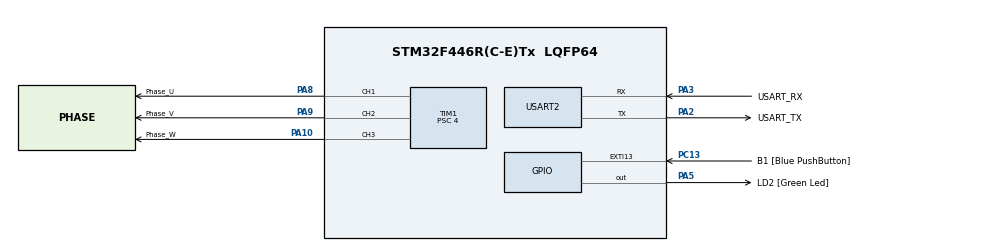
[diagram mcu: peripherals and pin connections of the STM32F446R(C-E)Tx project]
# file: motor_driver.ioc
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FREERTOS.Tasks01=defaultTask,0,128,StartDefaultTask,Default,NULL,Dynamic,NULL,NULL
Mcu.Family=STM32F4
Mcu.Name=STM32F446R(C-E)Tx
Mcu.Package=LQFP64
NVIC.EXTI15_10_IRQn=true\:5\:0\:false\:false\:true\:true\:true\:true\:true
NVIC.PriorityGroup=NVIC_PRIORITYGROUP_4
PA10.GPIO_Label=Phase_W
PA10.Signal=S_TIM1_CH3
PA13.GPIO_Label=TMS
PA13.Mode=Serial_Wire
PA13.Signal=SYS_JTMS-SWDIO
PA14.GPIO_Label=TCK
PA14.Mode=Serial_Wire
PA14.Signal=SYS_JTCK-SWCLK
PA2.GPIO_Label=USART_TX
PA2.Mode=Asynchronous
PA2.Signal=USART2_TX
PA3.GPIO_Label=USART_RX
PA3.Mode=Asynchronous
PA3.Signal=USART2_RX
PA5.GPIO_Label=LD2 [Green Led]
PA5.Signal=GPIO_Output
PA8.GPIO_Label=Phase_U
PA8.Signal=S_TIM1_CH1
PA9.GPIO_Label=Phase_V
PA9.Signal=S_TIM1_CH2
PB3.GPIO_Label=SWO
PB3.Signal=SYS_JTDO-SWO
PC13.GPIO_Label=B1 [Blue PushButton]
PC13.GPIO_ModeDefaultEXTI=GPIO_MODE_IT_FALLING
PC13.Signal=GPXTI13
PC14-OSC32_IN.Mode=LSE-External-Oscillator
PC14-OSC32_IN.Signal=RCC_OSC32_IN
PC15-OSC32_OUT.Mode=LSE-External-Oscillator
PC15-OSC32_OUT.Signal=RCC_OSC32_OUT
PH0-OSC_IN.Mode=HSE-External-Oscillator
PH0-OSC_IN.Signal=RCC_OSC_IN
PH1-OSC_OUT.Mode=HSE-External-Oscillator
PH1-OSC_OUT.Signal=RCC_OSC_OUT
ProjectManager.HeapSize=0x200
ProjectManager.StackSize=0x400
ProjectManager.TargetToolchain=STM32CubeIDE
RCC.48MHZClocksFreq_Value=84000000
RCC.AHBFreq_Value=84000000
RCC.APB1CLKDivider=RCC_HCLK_DIV2
RCC.APB1Freq_Value=42000000
RCC.APB1TimFreq_Value=84000000
RCC.APB2Freq_Value=84000000
RCC.APB2TimFreq_Value=84000000
RCC.CortexFreq_Value=84000000
RCC.FLatency-AdvancedSettings=FLASH_LATENCY_2
RCC.HCLKFreq_Value=84000000
RCC.HSE_VALUE=8000000
RCC.HSI_VALUE=16000000
RCC.PLLN=336
RCC.PLLP=RCC_PLLP_DIV4
RCC.SYSCLKFreq_VALUE=84000000
RCC.SYSCLKSource=RCC_SYSCLKSOURCE_PLLCLK
RCC.USBFreq_Value=168000000
RCC.VCOOutputFreq_Value=336000000
SH.S_TIM1_CH1.0=TIM1_CH1,PWM Generation1 CH1
SH.S_TIM1_CH2.0=TIM1_CH2,PWM Generation2 CH2
SH.S_TIM1_CH3.0=TIM1_CH3,PWM Generation3 CH3
TIM1.AutoReloadPreload=TIM_AUTORELOAD_PRELOAD_ENABLE
TIM1.Channel-PWM\ Generation1\ CH1=TIM_CHANNEL_1
TIM1.Channel-PWM\ Generation2\ CH2=TIM_CHANNEL_2
TIM1.Channel-PWM\ Generation3\ CH3=TIM_CHANNEL_3
TIM1.Prescaler=4
USART2.VirtualMode=VM_ASYNC
VP_FREERTOS_VS_CMSIS_V1.Mode=CMSIS_V1
board=NUCLEO-F446RE

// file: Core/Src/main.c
/* USER CODE BEGIN Header */
/**
 ******************************************************************************
 * @file           : main.c
 * @brief          : Main program body
 ******************************************************************************
 * @attention
 *
 * Copyright (c) 2025 STMicroelectronics.
 * All rights reserved.
 *
 * This software is licensed under terms that can be found in the LICENSE file
 * in the root directory of this software component.
 * If no LICENSE file comes with this software, it is provided AS-IS.
 *
 ******************************************************************************
 */
/* USER CODE END Header */
#include "main.h"
#include "cmsis_os.h"

/* USER CODE BEGIN Includes */
#include "stm32f4xx_it.h"
/* USER CODE END Includes */

/* USER CODE BEGIN PD */
#define PHASE_U_PIN GPIO_PIN_8
#define PHASE_U_GPIO_PORT GPIOA
#define PHASE_U_TIM_CHANNEL LL_TIM_CHANNEL_CH1

#define PHASE_V_PIN GPIO_PIN_9
#define PHASE_V_GPIO_PORT GPIOA
#define PHASE_V_TIM_CHANNEL LL_TIM_CHANNEL_CH2

#define PHASE_W_PIN GPIO_PIN_10
#define PHASE_W_GPIO_PORT GPIOA
#define PHASE_W_TIM_CHANNEL LL_TIM_CHANNEL_CH3

#define DUTY_STEP 10
#define AUTORELOAD_VALUE 2099
/* USER CODE END PD */

//osThreadId defaultTaskHandle;
/* USER CODE BEGIN PV */
volatile uint8_t start_phase = 0;
static uint8_t commutationStep = 1;
/* USER CODE END PV */

void SystemClock_Config(void);
static void MX_GPIO_Init(void);
static void MX_USART2_UART_Init(void);
static void MX_TIM1_Init(void);
void StartDefaultTask(void const *argument);

/* USER CODE BEGIN 0 */

void SetPhasePWM(uint32_t timerChannel, uint32_t dutyCycle) {
	switch (timerChannel) {
	case LL_TIM_CHANNEL_CH1:
		LL_TIM_OC_SetCompareCH1(TIM1, dutyCycle);
		break;
	case LL_TIM_CHANNEL_CH2:
		LL_TIM_OC_SetCompareCH2(TIM1, dutyCycle);
		break;
	case LL_TIM_CHANNEL_CH3:
		LL_TIM_OC_SetCompareCH3(TIM1, dutyCycle);
		break;
	}
}
/*
 void SetDutyPhaseAllCycles(uint32_t dutyCycle) {
 LL_TIM_OC_SetCompare(TIM1, PHASE_U_TIM_CHANNEL, dutyCycle);
 LL_TIM_OC_SetCompare(TIM1, PHASE_V_TIM_CHANNEL, dutyCycle);
 LL_TIM_OC_SetCompare(TIM1, PHASE_W_TIM_CHANNEL, dutyCycle);
 }
 */

void runMotor(void) {
    static uint32_t duty = AUTORELOAD_VALUE * 0.2;  // start bei 20%
    static int delta = DUTY_STEP;

    switch (commutationStep) {
    case 1:
        // U aktiviert, V und W aus
        SetPhasePWM(PHASE_U_TIM_CHANNEL, duty);
        SetPhasePWM(PHASE_V_TIM_CHANNEL, 0);
        SetPhasePWM(PHASE_W_TIM_CHANNEL, 0);
        break;
    case 2:
        // V aktiviert, U und W aus
        SetPhasePWM(PHASE_U_TIM_CHANNEL, 0);
        SetPhasePWM(PHASE_V_TIM_CHANNEL, duty);
        SetPhasePWM(PHASE_W_TIM_CHANNEL, 0);
        break;
    case 3:
        // W aktiviert, U und V aus
        SetPhasePWM(PHASE_U_TIM_CHANNEL, 0);
        SetPhasePWM(PHASE_V_TIM_CHANNEL, 0);
        SetPhasePWM(PHASE_W_TIM_CHANNEL, duty);
        break;
    case 4:
        // U aktiviert, W aus, V wieder aus (falls Drehrichtung rückwärts)
        SetPhasePWM(PHASE_U_TIM_CHANNEL, duty);
        SetPhasePWM(PHASE_V_TIM_CHANNEL, 0);
        SetPhasePWM(PHASE_W_TIM_CHANNEL, 0);
        break;
    case 5:
        // V aktiviert, W aus, U wieder aus (gekreuzt, um Bewegungsrichtung zu ändern)
        SetPhasePWM(PHASE_U_TIM_CHANNEL, 0);
        SetPhasePWM(PHASE_V_TIM_CHANNEL, duty);
        SetPhasePWM(PHASE_W_TIM_CHANNEL, 0);
        break;
    case 6:
        // W aktiv, U und V aus (auch für Rückwärtsdrehung)
        SetPhasePWM(PHASE_U_TIM_CHANNEL, 0);
        SetPhasePWM(PHASE_V_TIM_CHANNEL, 0);
        SetPhasePWM(PHASE_W_TIM_CHANNEL, duty);
        break;
    default:
        commutationStep = 1;
        break;
    }

    commutationStep++;
    if (commutationStep > 6) {
        commutationStep = 1;
    }

    // Duty Cycle zwischen 20% und 40% langsam ändern
    if (duty >= AUTORELOAD_VALUE * 0.4) {
        delta = -DUTY_STEP;
    } else if (duty <= AUTORELOAD_VALUE * 0.2) {
        delta = DUTY_STEP;
    }
    duty += delta;

    vTaskDelay(pdMS_TO_TICKS(150)); // langsam, z.B. 150ms Pause zwischen Schritten
}

void DebugTask(void *argument) {
	for (;;) {
		SetPhasePWM(PHASE_U_TIM_CHANNEL, AUTORELOAD_VALUE / 2); // Phase U auf High
		SetPhasePWM(PHASE_V_TIM_CHANNEL, 0);                 // Phase V aus
		SetPhasePWM(PHASE_W_TIM_CHANNEL, 0);                 // Phase W aus

		vTaskDelay(pdMS_TO_TICKS(1000));
	}
}

void motorTask(void *argument) {
    enum { STATE_IDLE, STATE_RUN } state = STATE_IDLE;
    for (;;) {
        switch (state) {
        case STATE_IDLE:
            if (start_motor == 1) {
                start_motor = 0;
                state = STATE_RUN;
            }
            break;
        case STATE_RUN:
            runMotor();
            break;
        }
        vTaskDelay(pdMS_TO_TICKS(1));
    }
}

/* USER CODE END 0 */

int main(void) {

	/* MCU Configuration--------------------------------------------------------*/

	/* Reset of all peripherals, Initializes the Flash interface and the Systick. */
	LL_APB2_GRP1_EnableClock(LL_APB2_GRP1_PERIPH_SYSCFG);
	LL_APB1_GRP1_EnableClock(LL_APB1_GRP1_PERIPH_PWR);

	/* System interrupt init*/
	NVIC_SetPriorityGrouping(NVIC_PRIORITYGROUP_4);

	/* PendSV_IRQn interrupt configuration */
	NVIC_SetPriority(PendSV_IRQn,
			NVIC_EncodePriority(NVIC_GetPriorityGrouping(), 15, 0));
	/* SysTick_IRQn interrupt configuration */
	NVIC_SetPriority(SysTick_IRQn,
			NVIC_EncodePriority(NVIC_GetPriorityGrouping(), 15, 0));

	/* Configure the system clock */
	SystemClock_Config();

	/* Initialize all configured peripherals */
	MX_GPIO_Init();
	MX_USART2_UART_Init();
	MX_TIM1_Init();
	/* USER CODE BEGIN 2 */
	LL_TIM_CC_EnableChannel(TIM1, LL_TIM_CHANNEL_CH1);
	LL_TIM_CC_EnableChannel(TIM1, LL_TIM_CHANNEL_CH2);
	LL_TIM_CC_EnableChannel(TIM1, LL_TIM_CHANNEL_CH3);
	LL_TIM_EnableAllOutputs(TIM1);
	LL_TIM_EnableCounter(TIM1);

	xTaskCreate(motorTask, "Task1", 256, NULL, 1, NULL);
	//xTaskCreate(DebugTask, "Task1", 256, NULL, 1, NULL);
	/* USER CODE END 2 */

	/* Create the thread(s) */
	/* definition and creation of defaultTask */
	//osThreadDef(defaultTask, StartDefaultTask, osPriorityNormal, 0, 128);
	//defaultTaskHandle = osThreadCreate(osThread(defaultTask), NULL);

	/* Start scheduler */
	// osKernelStart();
	vTaskStartScheduler();

	/* We should never get here as control is now taken by the scheduler */

	/* Infinite loop */
	while (1) {

	}
}

void SystemClock_Config(void) {
	LL_FLASH_SetLatency(LL_FLASH_LATENCY_2);
	while (LL_FLASH_GetLatency() != LL_FLASH_LATENCY_2) {
	}
	LL_PWR_SetRegulVoltageScaling(LL_PWR_REGU_VOLTAGE_SCALE3);
	LL_PWR_DisableOverDriveMode();
	LL_RCC_HSI_SetCalibTrimming(16);
	LL_RCC_HSI_Enable();

	/* Wait till HSI is ready */
	while (LL_RCC_HSI_IsReady() != 1) {

	}
	LL_RCC_PLL_ConfigDomain_SYS(LL_RCC_PLLSOURCE_HSI, LL_RCC_PLLM_DIV_16, 336,
	LL_RCC_PLLP_DIV_4);
	LL_RCC_PLL_Enable();

	/* Wait till PLL is ready */
	while (LL_RCC_PLL_IsReady() != 1) {

	}
	while (LL_PWR_IsActiveFlag_VOS() == 0) {
	}
	LL_RCC_SetAHBPrescaler(LL_RCC_SYSCLK_DIV_1);
	LL_RCC_SetAPB1Prescaler(LL_RCC_APB1_DIV_2);
	LL_RCC_SetAPB2Prescaler(LL_RCC_APB2_DIV_1);
	LL_RCC_SetSysClkSource(LL_RCC_SYS_CLKSOURCE_PLL);

	/* Wait till System clock is ready */
	while (LL_RCC_GetSysClkSource() != LL_RCC_SYS_CLKSOURCE_STATUS_PLL) {

	}
	LL_Init1msTick(84000000);
	LL_SetSystemCoreClock(84000000);
	LL_RCC_SetTIMPrescaler(LL_RCC_TIM_PRESCALER_TWICE);
}

static void MX_TIM1_Init(void) {

	LL_TIM_InitTypeDef TIM_InitStruct = { 0 };
	LL_TIM_OC_InitTypeDef TIM_OC_InitStruct = { 0 };
	LL_TIM_BDTR_InitTypeDef TIM_BDTRInitStruct = { 0 };

	LL_GPIO_InitTypeDef GPIO_InitStruct = { 0 };

	/* Peripheral clock enable */
	LL_APB2_GRP1_EnableClock(LL_APB2_GRP1_PERIPH_TIM1);

	TIM_InitStruct.Prescaler = 2;
	TIM_InitStruct.CounterMode = LL_TIM_COUNTERMODE_UP;
	TIM_InitStruct.Autoreload = AUTORELOAD_VALUE;
	TIM_InitStruct.ClockDivision = LL_TIM_CLOCKDIVISION_DIV1;
	TIM_InitStruct.RepetitionCounter = 0;
	LL_TIM_Init(TIM1, &TIM_InitStruct);
	LL_TIM_EnableARRPreload(TIM1);
	LL_TIM_OC_EnablePreload(TIM1, LL_TIM_CHANNEL_CH1);
	TIM_OC_InitStruct.OCMode = LL_TIM_OCMODE_PWM1;
	TIM_OC_InitStruct.OCState = LL_TIM_OCSTATE_DISABLE;
	TIM_OC_InitStruct.OCNState = LL_TIM_OCSTATE_DISABLE;
	TIM_OC_InitStruct.CompareValue = 0;
	TIM_OC_InitStruct.OCPolarity = LL_TIM_OCPOLARITY_HIGH;
	TIM_OC_InitStruct.OCNPolarity = LL_TIM_OCPOLARITY_HIGH;
	TIM_OC_InitStruct.OCIdleState = LL_TIM_OCIDLESTATE_LOW;
	TIM_OC_InitStruct.OCNIdleState = LL_TIM_OCIDLESTATE_LOW;
	LL_TIM_OC_Init(TIM1, LL_TIM_CHANNEL_CH1, &TIM_OC_InitStruct);
	LL_TIM_OC_DisableFast(TIM1, LL_TIM_CHANNEL_CH1);
	LL_TIM_OC_EnablePreload(TIM1, LL_TIM_CHANNEL_CH2);
	LL_TIM_OC_Init(TIM1, LL_TIM_CHANNEL_CH2, &TIM_OC_InitStruct);
	LL_TIM_OC_DisableFast(TIM1, LL_TIM_CHANNEL_CH2);
	LL_TIM_OC_EnablePreload(TIM1, LL_TIM_CHANNEL_CH3);
	LL_TIM_OC_Init(TIM1, LL_TIM_CHANNEL_CH3, &TIM_OC_InitStruct);
	LL_TIM_OC_DisableFast(TIM1, LL_TIM_CHANNEL_CH3);
	LL_TIM_SetTriggerOutput(TIM1, LL_TIM_TRGO_RESET);
	LL_TIM_DisableMasterSlaveMode(TIM1);
	TIM_BDTRInitStruct.OSSRState = LL_TIM_OSSR_DISABLE;
	TIM_BDTRInitStruct.OSSIState = LL_TIM_OSSI_DISABLE;
	TIM_BDTRInitStruct.LockLevel = LL_TIM_LOCKLEVEL_OFF;
	TIM_BDTRInitStruct.DeadTime = 0;
	TIM_BDTRInitStruct.BreakState = LL_TIM_BREAK_DISABLE;
	TIM_BDTRInitStruct.BreakPolarity = LL_TIM_BREAK_POLARITY_HIGH;
	TIM_BDTRInitStruct.AutomaticOutput = LL_TIM_AUTOMATICOUTPUT_DISABLE;
	LL_TIM_BDTR_Init(TIM1, &TIM_BDTRInitStruct);
	LL_AHB1_GRP1_EnableClock(LL_AHB1_GRP1_PERIPH_GPIOA);
	/**TIM1 GPIO Configuration
	 PA8   ------> TIM1_CH1
	 PA9   ------> TIM1_CH2
	 PA10   ------> TIM1_CH3
	 */
	GPIO_InitStruct.Pin = Phase_U_Pin | Phase_V_Pin | Phase_W_Pin;
	GPIO_InitStruct.Mode = LL_GPIO_MODE_ALTERNATE;
	GPIO_InitStruct.Speed = LL_GPIO_SPEED_FREQ_LOW;
	GPIO_InitStruct.OutputType = LL_GPIO_OUTPUT_PUSHPULL;
	GPIO_InitStruct.Pull = LL_GPIO_PULL_NO;
	GPIO_InitStruct.Alternate = LL_GPIO_AF_1;
	LL_GPIO_Init(GPIOA, &GPIO_InitStruct);

}

static void MX_USART2_UART_Init(void) {

	LL_USART_InitTypeDef USART_InitStruct = { 0 };

	LL_GPIO_InitTypeDef GPIO_InitStruct = { 0 };

	/* Peripheral clock enable */
	LL_APB1_GRP1_EnableClock(LL_APB1_GRP1_PERIPH_USART2);

	LL_AHB1_GRP1_EnableClock(LL_AHB1_GRP1_PERIPH_GPIOA);
	/**USART2 GPIO Configuration
	 PA2   ------> USART2_TX
	 PA3   ------> USART2_RX
	 */
	GPIO_InitStruct.Pin = USART_TX_Pin | USART_RX_Pin;
	GPIO_InitStruct.Mode = LL_GPIO_MODE_ALTERNATE;
	GPIO_InitStruct.Speed = LL_GPIO_SPEED_FREQ_VERY_HIGH;
	GPIO_InitStruct.OutputType = LL_GPIO_OUTPUT_PUSHPULL;
	GPIO_InitStruct.Pull = LL_GPIO_PULL_NO;
	GPIO_InitStruct.Alternate = LL_GPIO_AF_7;
	LL_GPIO_Init(GPIOA, &GPIO_InitStruct);

	USART_InitStruct.BaudRate = 115200;
	USART_InitStruct.DataWidth = LL_USART_DATAWIDTH_8B;
	USART_InitStruct.StopBits = LL_USART_STOPBITS_1;
	USART_InitStruct.Parity = LL_USART_PARITY_NONE;
	USART_InitStruct.TransferDirection = LL_USART_DIRECTION_TX_RX;
	USART_InitStruct.HardwareFlowControl = LL_USART_HWCONTROL_NONE;
	USART_InitStruct.OverSampling = LL_USART_OVERSAMPLING_16;
	LL_USART_Init(USART2, &USART_InitStruct);
	LL_USART_ConfigAsyncMode(USART2);
	LL_USART_Enable(USART2);

}

static void MX_GPIO_Init(void) {
	LL_EXTI_InitTypeDef EXTI_InitStruct = { 0 };
	LL_GPIO_InitTypeDef GPIO_InitStruct = { 0 };

	/* GPIO Ports Clock Enable */
	LL_AHB1_GRP1_EnableClock(LL_AHB1_GRP1_PERIPH_GPIOC);
	LL_AHB1_GRP1_EnableClock(LL_AHB1_GRP1_PERIPH_GPIOH);
	LL_AHB1_GRP1_EnableClock(LL_AHB1_GRP1_PERIPH_GPIOA);
	LL_AHB1_GRP1_EnableClock(LL_AHB1_GRP1_PERIPH_GPIOB);

	/**/
	LL_GPIO_ResetOutputPin(LD2_GPIO_Port, LD2_Pin);

	/**/
	LL_SYSCFG_SetEXTISource(LL_SYSCFG_EXTI_PORTC, LL_SYSCFG_EXTI_LINE13);

	/**/
	EXTI_InitStruct.Line_0_31 = LL_EXTI_LINE_13;
	EXTI_InitStruct.LineCommand = ENABLE;
	EXTI_InitStruct.Mode = LL_EXTI_MODE_IT;
	EXTI_InitStruct.Trigger = LL_EXTI_TRIGGER_FALLING;
	LL_EXTI_Init(&EXTI_InitStruct);

	/**/
	LL_GPIO_SetPinPull(B1_GPIO_Port, B1_Pin, LL_GPIO_PULL_NO);

	/**/
	LL_GPIO_SetPinMode(B1_GPIO_Port, B1_Pin, LL_GPIO_MODE_INPUT);

	/**/
	GPIO_InitStruct.Pin = LD2_Pin;
	GPIO_InitStruct.Mode = LL_GPIO_MODE_OUTPUT;
	GPIO_InitStruct.Speed = LL_GPIO_SPEED_FREQ_LOW;
	GPIO_InitStruct.OutputType = LL_GPIO_OUTPUT_PUSHPULL;
	GPIO_InitStruct.Pull = LL_GPIO_PULL_NO;
	LL_GPIO_Init(LD2_GPIO_Port, &GPIO_InitStruct);

	/* EXTI interrupt init*/
	NVIC_SetPriority(EXTI15_10_IRQn,
			NVIC_EncodePriority(NVIC_GetPriorityGrouping(), 5, 0));
	NVIC_EnableIRQ(EXTI15_10_IRQn);

}

void StartDefaultTask(void const *argument) {
	/* USER CODE BEGIN 5 */
	/* Infinite loop */
	for (;;) {
		vTaskDelay(pdMS_TO_TICKS(1));
	}
	/* USER CODE END 5 */
}

void Error_Handler(void) {
	__disable_irq();
	while (1) {
	}
}
